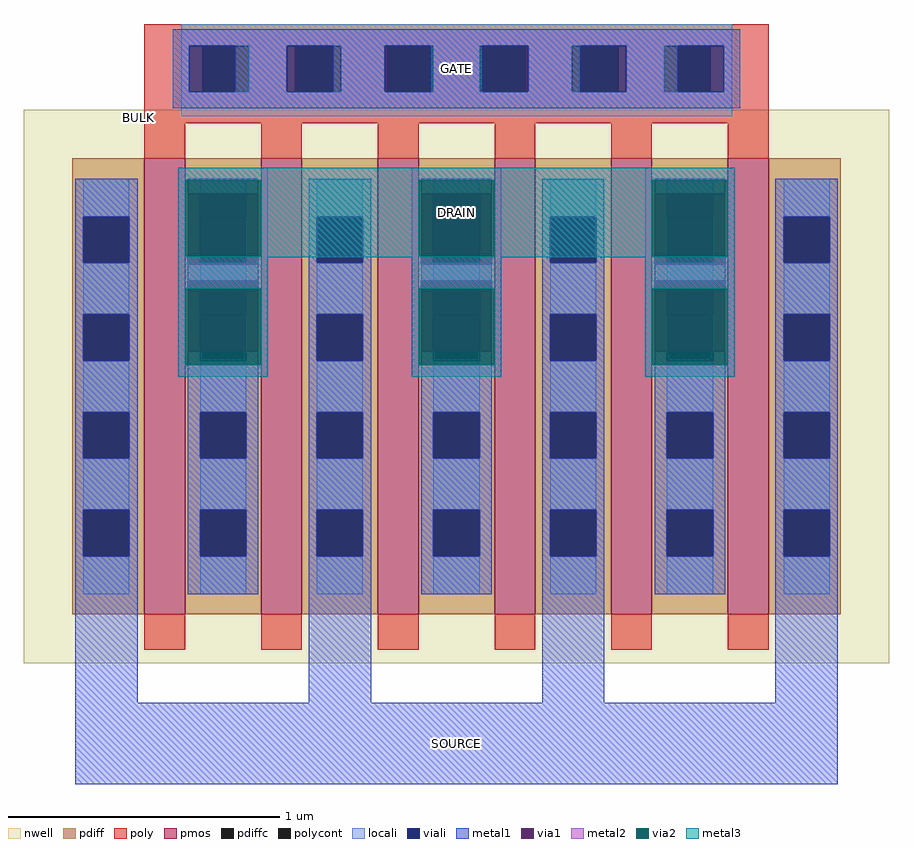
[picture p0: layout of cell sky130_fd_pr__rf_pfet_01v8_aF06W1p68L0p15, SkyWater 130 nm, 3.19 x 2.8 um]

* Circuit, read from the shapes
.subckt sky130_fd_pr__rf_pfet_01v8_aF06W1p68L0p15 DRAIN GATE SOURCE BULK
XM1 DRAIN GATE SOURCE BULK sky130_fd_pr__pfet_01v8 w=1.68 l=0.15 m=6
.ends

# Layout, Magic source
magic
tech sky130A
magscale 1 2
<< nwell >>
rect 0 0 638 408
<< pmos >>
rect 89 36 119 372
rect 175 36 205 372
rect 261 36 291 372
rect 347 36 377 372
rect 433 36 463 372
rect 519 36 549 372
<< pdiff >>
rect 36 329 89 372
rect 36 295 44 329
rect 78 295 89 329
rect 36 257 89 295
rect 36 223 44 257
rect 78 223 89 257
rect 36 185 89 223
rect 36 151 44 185
rect 78 151 89 185
rect 36 113 89 151
rect 36 79 44 113
rect 78 79 89 113
rect 36 36 89 79
rect 119 329 175 372
rect 119 295 130 329
rect 164 295 175 329
rect 119 257 175 295
rect 119 223 130 257
rect 164 223 175 257
rect 119 185 175 223
rect 119 151 130 185
rect 164 151 175 185
rect 119 113 175 151
rect 119 79 130 113
rect 164 79 175 113
rect 119 36 175 79
rect 205 329 261 372
rect 205 295 216 329
rect 250 295 261 329
rect 205 257 261 295
rect 205 223 216 257
rect 250 223 261 257
rect 205 185 261 223
rect 205 151 216 185
rect 250 151 261 185
rect 205 113 261 151
rect 205 79 216 113
rect 250 79 261 113
rect 205 36 261 79
rect 291 329 347 372
rect 291 295 302 329
rect 336 295 347 329
rect 291 257 347 295
rect 291 223 302 257
rect 336 223 347 257
rect 291 185 347 223
rect 291 151 302 185
rect 336 151 347 185
rect 291 113 347 151
rect 291 79 302 113
rect 336 79 347 113
rect 291 36 347 79
rect 377 329 433 372
rect 377 295 388 329
rect 422 295 433 329
rect 377 257 433 295
rect 377 223 388 257
rect 422 223 433 257
rect 377 185 433 223
rect 377 151 388 185
rect 422 151 433 185
rect 377 113 433 151
rect 377 79 388 113
rect 422 79 433 113
rect 377 36 433 79
rect 463 329 519 372
rect 463 295 474 329
rect 508 295 519 329
rect 463 257 519 295
rect 463 223 474 257
rect 508 223 519 257
rect 463 185 519 223
rect 463 151 474 185
rect 508 151 519 185
rect 463 113 519 151
rect 463 79 474 113
rect 508 79 519 113
rect 463 36 519 79
rect 549 329 602 372
rect 549 295 560 329
rect 594 295 602 329
rect 549 257 602 295
rect 549 223 560 257
rect 594 223 602 257
rect 549 185 602 223
rect 549 151 560 185
rect 594 151 602 185
rect 549 113 602 151
rect 549 79 560 113
rect 594 79 602 113
rect 549 36 602 79
<< pdiffc >>
rect 44 295 78 329
rect 44 223 78 257
rect 44 151 78 185
rect 44 79 78 113
rect 130 295 164 329
rect 130 223 164 257
rect 130 151 164 185
rect 130 79 164 113
rect 216 295 250 329
rect 216 223 250 257
rect 216 151 250 185
rect 216 79 250 113
rect 302 295 336 329
rect 302 223 336 257
rect 302 151 336 185
rect 302 79 336 113
rect 388 295 422 329
rect 388 223 422 257
rect 388 151 422 185
rect 388 79 422 113
rect 474 295 508 329
rect 474 223 508 257
rect 474 151 508 185
rect 474 79 508 113
rect 560 295 594 329
rect 560 223 594 257
rect 560 151 594 185
rect 560 79 594 113
<< poly >>
rect 89 455 549 471
rect 89 421 132 455
rect 166 421 200 455
rect 234 421 268 455
rect 302 421 336 455
rect 370 421 404 455
rect 438 421 472 455
rect 506 421 549 455
rect 89 398 549 421
rect 89 372 119 398
rect 175 372 205 398
rect 261 372 291 398
rect 347 372 377 398
rect 433 372 463 398
rect 519 372 549 398
rect 89 10 119 36
rect 175 10 205 36
rect 261 10 291 36
rect 347 10 377 36
rect 433 10 463 36
rect 519 10 549 36
<< polycont >>
rect 132 421 166 455
rect 200 421 234 455
rect 268 421 302 455
rect 336 421 370 455
rect 404 421 438 455
rect 472 421 506 455
<< locali >>
rect 116 455 522 471
rect 116 421 122 455
rect 166 421 194 455
rect 234 421 266 455
rect 302 421 336 455
rect 372 421 404 455
rect 444 421 472 455
rect 516 421 522 455
rect 116 403 522 421
rect 44 329 78 357
rect 44 257 78 295
rect 44 185 78 223
rect 44 113 78 151
rect 44 51 78 79
rect 130 329 164 357
rect 130 257 164 295
rect 130 185 164 223
rect 130 113 164 151
rect 130 51 164 79
rect 216 329 250 357
rect 216 257 250 295
rect 216 185 250 223
rect 216 113 250 151
rect 216 51 250 79
rect 302 329 336 357
rect 302 257 336 295
rect 302 185 336 223
rect 302 113 336 151
rect 302 51 336 79
rect 388 329 422 357
rect 388 257 422 295
rect 388 185 422 223
rect 388 113 422 151
rect 388 51 422 79
rect 474 329 508 357
rect 474 257 508 295
rect 474 185 508 223
rect 474 113 508 151
rect 474 51 508 79
rect 560 329 594 357
rect 560 257 594 295
rect 560 185 594 223
rect 560 113 594 151
rect 560 51 594 79
<< viali >>
rect 122 421 132 455
rect 132 421 156 455
rect 194 421 200 455
rect 200 421 228 455
rect 266 421 268 455
rect 268 421 300 455
rect 338 421 370 455
rect 370 421 372 455
rect 410 421 438 455
rect 438 421 444 455
rect 482 421 506 455
rect 506 421 516 455
rect 44 295 78 329
rect 44 223 78 257
rect 44 151 78 185
rect 44 79 78 113
rect 130 295 164 329
rect 130 223 164 257
rect 130 151 164 185
rect 130 79 164 113
rect 216 295 250 329
rect 216 223 250 257
rect 216 151 250 185
rect 216 79 250 113
rect 302 295 336 329
rect 302 223 336 257
rect 302 151 336 185
rect 302 79 336 113
rect 388 295 422 329
rect 388 223 422 257
rect 388 151 422 185
rect 388 79 422 113
rect 474 295 508 329
rect 474 223 508 257
rect 474 151 508 185
rect 474 79 508 113
rect 560 295 594 329
rect 560 223 594 257
rect 560 151 594 185
rect 560 79 594 113
<< metal1 >>
rect 110 455 528 467
rect 110 421 122 455
rect 156 421 194 455
rect 228 421 266 455
rect 300 421 338 455
rect 372 421 410 455
rect 444 421 482 455
rect 516 421 528 455
rect 110 409 528 421
rect 38 329 84 357
rect 38 295 44 329
rect 78 295 84 329
rect 38 257 84 295
rect 38 223 44 257
rect 78 223 84 257
rect 38 185 84 223
rect 38 151 44 185
rect 78 151 84 185
rect 38 113 84 151
rect 38 79 44 113
rect 78 79 84 113
rect 38 -29 84 79
rect 121 346 173 357
rect 121 282 173 294
rect 121 223 130 230
rect 164 223 173 230
rect 121 185 173 223
rect 121 151 130 185
rect 164 151 173 185
rect 121 113 173 151
rect 121 79 130 113
rect 164 79 173 113
rect 121 51 173 79
rect 210 329 256 357
rect 210 295 216 329
rect 250 295 256 329
rect 210 257 256 295
rect 210 223 216 257
rect 250 223 256 257
rect 210 185 256 223
rect 210 151 216 185
rect 250 151 256 185
rect 210 113 256 151
rect 210 79 216 113
rect 250 79 256 113
rect 210 -29 256 79
rect 293 346 345 357
rect 293 282 345 294
rect 293 223 302 230
rect 336 223 345 230
rect 293 185 345 223
rect 293 151 302 185
rect 336 151 345 185
rect 293 113 345 151
rect 293 79 302 113
rect 336 79 345 113
rect 293 51 345 79
rect 382 329 428 357
rect 382 295 388 329
rect 422 295 428 329
rect 382 257 428 295
rect 382 223 388 257
rect 422 223 428 257
rect 382 185 428 223
rect 382 151 388 185
rect 422 151 428 185
rect 382 113 428 151
rect 382 79 388 113
rect 422 79 428 113
rect 382 -29 428 79
rect 465 346 517 357
rect 465 282 517 294
rect 465 223 474 230
rect 508 223 517 230
rect 465 185 517 223
rect 465 151 474 185
rect 508 151 517 185
rect 465 113 517 151
rect 465 79 474 113
rect 508 79 517 113
rect 465 51 517 79
rect 554 329 600 357
rect 554 295 560 329
rect 594 295 600 329
rect 554 257 600 295
rect 554 223 560 257
rect 594 223 600 257
rect 554 185 600 223
rect 554 151 560 185
rect 594 151 600 185
rect 554 113 600 151
rect 554 79 560 113
rect 594 79 600 113
rect 554 -29 600 79
rect 38 -89 600 -29
<< via1 >>
rect 121 329 173 346
rect 121 295 130 329
rect 130 295 164 329
rect 164 295 173 329
rect 121 294 173 295
rect 121 257 173 282
rect 121 230 130 257
rect 130 230 164 257
rect 164 230 173 257
rect 293 329 345 346
rect 293 295 302 329
rect 302 295 336 329
rect 336 295 345 329
rect 293 294 345 295
rect 293 257 345 282
rect 293 230 302 257
rect 302 230 336 257
rect 336 230 345 257
rect 465 329 517 346
rect 465 295 474 329
rect 474 295 508 329
rect 508 295 517 329
rect 465 294 517 295
rect 465 257 517 282
rect 465 230 474 257
rect 474 230 508 257
rect 508 230 517 257
<< metal2 >>
rect 114 356 180 365
rect 114 300 119 356
rect 175 300 180 356
rect 114 294 121 300
rect 173 294 180 300
rect 114 282 180 294
rect 114 276 121 282
rect 173 276 180 282
rect 114 220 119 276
rect 175 220 180 276
rect 114 211 180 220
rect 286 356 352 365
rect 286 300 291 356
rect 347 300 352 356
rect 286 294 293 300
rect 345 294 352 300
rect 286 282 352 294
rect 286 276 293 282
rect 345 276 352 282
rect 286 220 291 276
rect 347 220 352 276
rect 286 211 352 220
rect 458 356 524 365
rect 458 300 463 356
rect 519 300 524 356
rect 458 294 465 300
rect 517 294 524 300
rect 458 282 524 294
rect 458 276 465 282
rect 517 276 524 282
rect 458 220 463 276
rect 519 220 524 276
rect 458 211 524 220
<< via2 >>
rect 119 346 175 356
rect 119 300 121 346
rect 121 300 173 346
rect 173 300 175 346
rect 119 230 121 276
rect 121 230 173 276
rect 173 230 175 276
rect 119 220 175 230
rect 291 346 347 356
rect 291 300 293 346
rect 293 300 345 346
rect 345 300 347 346
rect 291 230 293 276
rect 293 230 345 276
rect 345 230 347 276
rect 291 220 347 230
rect 463 346 519 356
rect 463 300 465 346
rect 465 300 517 346
rect 517 300 519 346
rect 463 230 465 276
rect 465 230 517 276
rect 517 230 519 276
rect 463 220 519 230
<< metal3 >>
rect 114 356 524 365
rect 114 300 119 356
rect 175 300 291 356
rect 347 300 463 356
rect 519 300 524 356
rect 114 299 524 300
rect 114 276 180 299
rect 114 220 119 276
rect 175 220 180 276
rect 114 211 180 220
rect 286 276 352 299
rect 286 220 291 276
rect 347 220 352 276
rect 286 211 352 220
rect 458 276 524 299
rect 458 220 463 276
rect 519 220 524 276
rect 458 211 524 220
<< labels >>
flabel metal3 s 114 299 524 365 0 FreeSans 400 0 0 0 DRAIN
port 1 nsew
flabel metal1 s 110 409 528 467 0 FreeSans 400 0 0 0 GATE
port 2 nsew
flabel metal1 s 38 -89 600 -29 0 FreeSans 400 0 0 0 SOURCE
port 3 nsew
flabel nwell s 82 399 87 405 0 FreeSans 400 0 0 0 BULK
port 4 nsew
<< properties >>
string GDS_FILE $PDKPATH/libs.ref/sky130_fd_pr/gds/sky130_fd_pr.gds
string GDS_END 9301698
string GDS_START 9290634
string path 1.525 8.925 1.525 -2.225 
<< end >>
